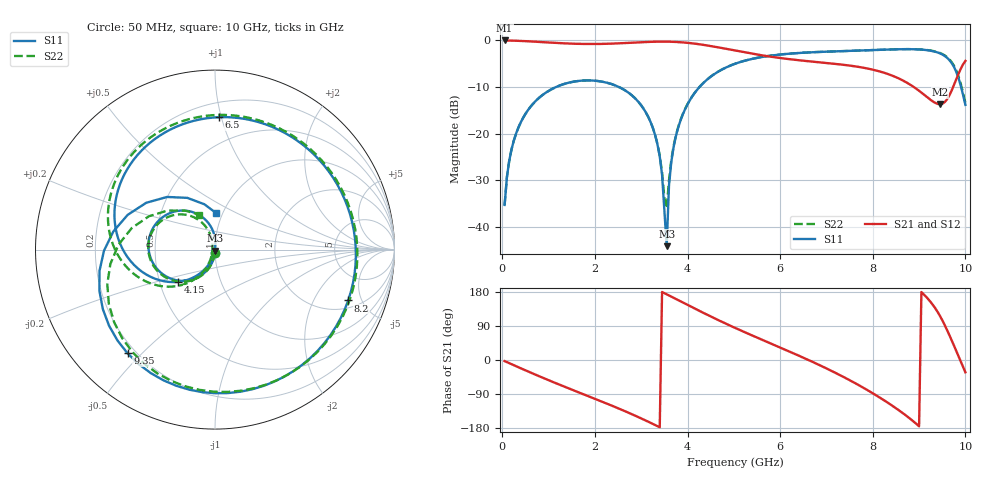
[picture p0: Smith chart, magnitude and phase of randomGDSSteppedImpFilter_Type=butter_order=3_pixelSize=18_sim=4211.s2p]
! freq	dB(S11)	phase(S11)	dB(S12)	phase(S12)
!  dB(S21)	phase(S21)	dB(S22)	phase(S22)
!S-par simulation data
#  GHz  S  DB  R 50
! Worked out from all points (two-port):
!   200 points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, 50 MHz to 10 GHz, reference 50 ohm
!   highest |S21| = 0.00 dB at 50 MHz (marker M1); lowest = -13.7 dB at 9.45 GHz (marker M2)
!   |S21| within 3 dB of the highest: start of sweep to 5.488 GHz
!   lowest |S11| = -44.2 dB at 3.55 GHz (marker M3), VSWR 1.01, Z = 49.8 - j0.584 ohm
!   |S11| at or under -10 dB: start of sweep to 1.161 GHz; 2.518 GHz to 4.259 GHz (1.741 GHz wide, 51.4 % of centre); 9.907 GHz to end of sweep
!   |S22| runs from -36.0 to -1.9 dB; largest |S21 - S12| = 0
!   S11 on the Smith chart (normalised r, x): 50 MHz: 1.00, -0.03; 4.15 GHz: 0.63, -0.24; 6.5 GHz: 0.30, +0.98; 8.2 GHz: 2.51, -3.86; 9.35 GHz: 0.17, -0.45; 10 GHz: 0.93, +0.40
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0.05  -35.32 -92.7  -0.00 -2.8  -0.00 -2.8  -35.32 -92.7
0.2  -23.36 -101.5  -0.04 -11.0  -0.04 -11.0  -23.36 -101.2
0.5  -15.77 -118.3  -0.15 -27.3  -0.15 -27.3  -15.77 -117.3
1.75  -8.61 177.5  -0.75 -90.2  -0.75 -90.2  -8.61 -178.9
2.85  -12.26 120.9  -0.46 -145.9  -0.46 -145.9  -12.26 128.2
3.4  -24.92 89.1  -0.26 -177.5  -0.26 -177.5  -24.76 108.0
3.55  -44.18 -108.3  -0.26 173.4  -0.26 173.4  -36.03 -160.6
3.6  -31.10 -104.8  -0.27 170.3  -0.27 170.3  -30.01 -123.4
3.7  -22.85 -110.4  -0.30 164.2  -0.30 164.2  -22.62 -114.1
4.15  -11.34 -138.6  -0.68 136.2  -0.68 136.2  -11.30 -133.4
5.05  -4.93 167.7  -2.22 83.5  -2.22 83.5  -4.91 177.5
5.75  -3.33 129.3  -3.42 46.1  -3.42 46.1  -3.32 142.1
6.5  -2.64 88.3  -4.36 6.1  -4.36 6.1  -2.63 104.1
6.7  -2.53 76.9  -4.56 -4.9  -4.56 -4.9  -2.53 93.5
7.45  -2.27 31.3  -5.33 -49.9  -5.33 -49.9  -2.26 49.8
8.2  -2.00 -20.9  -6.80 -102.9  -6.80 -102.9  -2.00 -3.0
8.35  -1.95 -32.5  -7.29 -114.8  -7.29 -114.8  -1.95 -15.0
8.95  -1.91 -84.8  -10.45 -169.5  -10.45 -169.5  -1.89 -69.2
9.35  -2.43 -130.1  -13.42 136.4  -13.42 136.4  -2.37 -114.7
9.45  -2.77 -144.3  -13.70 116.5  -13.70 116.5  -2.69 -128.6
9.75  -5.62 158.3  -9.66 39.0  -9.66 39.0  -5.38 177.0
10  -13.83 88.2  -4.40 -32.5  -4.40 -32.5  -13.43 114.0
